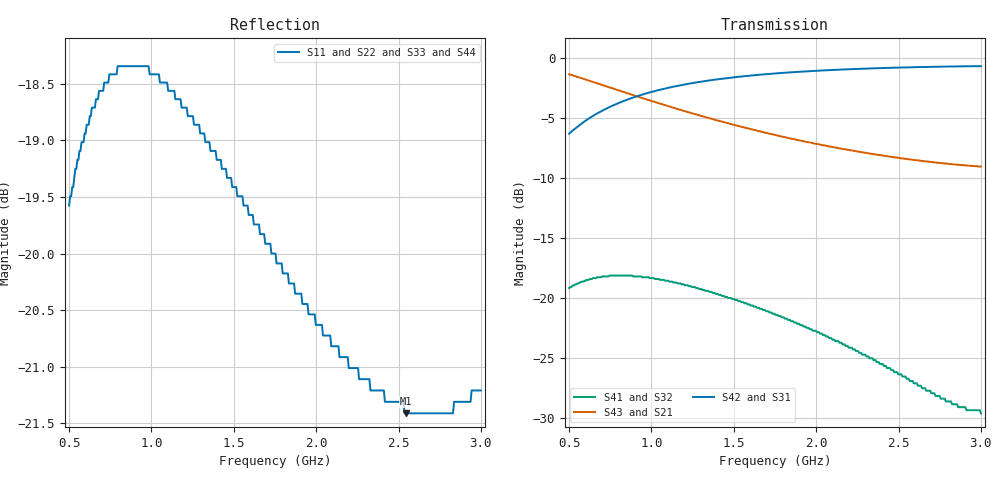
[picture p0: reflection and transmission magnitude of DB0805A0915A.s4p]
!	AVX THIN FILM OPERATION
!	0805 SIZE 3dB 90deg COUPLER P/N DB0805A0915AWTR
!	Created March 23 2003
!	Network Analyzer HP8720E S.07.64: Feb23, 2000 Serial No.US39172382
#	MHZ	S	MA	R	50
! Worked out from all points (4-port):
!   400 points, 500 MHz to 3 GHz, reference 50 ohm
!   strongest paths, dB at 500 MHz, 1.127 GHz, 1.753 GHz, 2.38 GHz, 3 GHz:
!     S42: -6.3, -2.4, -1.3, -0.8, -0.6
!     S31: -6.3, -2.4, -1.3, -0.8, -0.6
!     S43: -1.3, -4.1, -6.4, -8.1, -9.0
!     S21: -1.3, -4.1, -6.4, -8.1, -9.0
!     S41: -19.2, -18.6, -21.4, -25.4, -29.6
!     S32: -19.2, -18.6, -21.4, -25.4, -29.6
!   lowest |S11| = -21.4 dB at 2.543 GHz (marker M1), VSWR 1.19, Z = 46.4 + j7.39 ohm
!   |S11| at or under -10 dB: start of sweep to end of sweep
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500  0.105 -151.3  0.858 -30.3  0.485 58.0  0.11 31.2
     0.858 -30.3  0.105 -151.3  0.11 31.2  0.485 58.0
     0.485 58.0  0.11 31.2  0.105 -151.3  0.858 -30.3
     0.11 31.2  0.485 58.0  0.858 -30.3  0.105 -151.3
669.173  0.117 -167.2  0.788 -37.8  0.588 50.4  0.122 16.7
         0.788 -37.8  0.117 -167.2  0.122 16.7  0.588 50.4
         0.588 50.4  0.122 16.7  0.117 -167.2  0.788 -37.8
         0.122 16.7  0.588 50.4  0.788 -37.8  0.117 -167.2
882.206  0.121 176.5  0.705 -45.5  0.684 42.6  0.124 2.2
         0.705 -45.5  0.121 176.5  0.124 2.2  0.684 42.6
         0.684 42.6  0.124 2.2  0.121 176.5  0.705 -45.5
         0.124 2.2  0.684 42.6  0.705 -45.5  0.121 176.5
1327.068  0.112 151.6  0.569 -57.3  0.805 31.2  0.107 -18.1
          0.569 -57.3  0.112 151.6  0.107 -18.1  0.805 31.2
          0.805 31.2  0.107 -18.1  0.112 151.6  0.569 -57.3
          0.107 -18.1  0.805 31.2  0.569 -57.3  0.112 151.6
1878.446  0.096 130.7  0.458 -66.9  0.878 22.0  0.079 -30.3
          0.458 -66.9  0.096 130.7  0.079 -30.3  0.878 22.0
          0.878 22.0  0.079 -30.3  0.096 130.7  0.458 -66.9
          0.079 -30.3  0.878 22.0  0.458 -66.9  0.096 130.7
2542.607  0.085 111.6  0.381 -75.0  0.917 14.5  0.047 -26.0
          0.381 -75.0  0.085 111.6  0.047 -26.0  0.917 14.5
          0.917 14.5  0.047 -26.0  0.085 111.6  0.381 -75.0
          0.047 -26.0  0.917 14.5  0.381 -75.0  0.085 111.6
3000  0.087 99.7  0.354 -79.7  0.928 10.2  0.033 4.4
      0.354 -79.7  0.087 99.7  0.033 4.4  0.928 10.2
      0.928 10.2  0.033 4.4  0.087 99.7  0.354 -79.7
      0.033 4.4  0.928 10.2  0.354 -79.7  0.087 99.7
